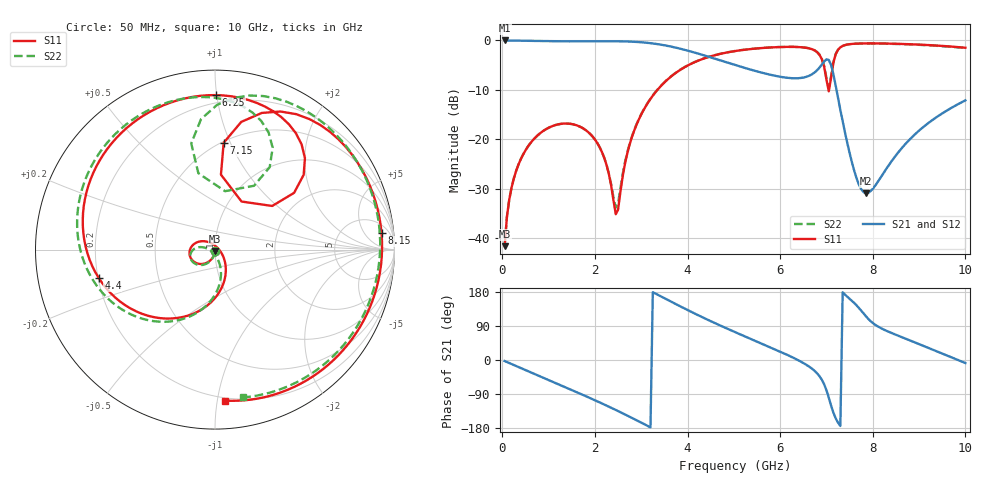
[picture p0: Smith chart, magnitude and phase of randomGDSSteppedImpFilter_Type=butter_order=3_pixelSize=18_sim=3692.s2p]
! freq	dB(S11)	phase(S11)	dB(S12)	phase(S12)
!  dB(S21)	phase(S21)	dB(S22)	phase(S22)
!S-par simulation data
#  GHz  S  DB  R 50
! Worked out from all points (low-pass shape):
!   200 points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, 50 MHz to 10 GHz, reference 50 ohm
!   highest |S21| = -0.01 dB at 50 MHz (marker M1); lowest = -30.9 dB at 7.85 GHz (marker M2)
!   |S21| within 3 dB of the highest: start of sweep to 4.351 GHz
!   lowest |S11| = -41.6 dB at 50 MHz (marker M3), VSWR 1.02, Z = 50 - j0.829 ohm
!   |S11| at or under -10 dB: start of sweep to 3.35 GHz; 7.043898 GHz to 7.055258 GHz (11.36 MHz wide, 0.161 % of centre)
!   |S22| runs from -41.6 to -0.6 dB; largest |S21 - S12| = 0
!   S11 on the Smith chart (normalised r, x): 50 MHz: 1.00, -0.02; 4.4 GHz: 0.20, -0.11; 6.25 GHz: 0.15, +0.99; 7.15 GHz: 0.51, +0.94; 8.15 GHz: 10, +14; 10 GHz: 0.18, -1.05
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0.05  -41.62 -91.9  -0.01 -2.7  -0.01 -2.7  -41.62 -91.7
0.2  -29.77 -101.0  -0.02 -10.7  -0.02 -10.7  -29.77 -100.0
0.55  -21.52 -121.1  -0.07 -29.2  -0.07 -29.2  -21.51 -118.3
1.75  -17.82 170.3  -0.18 -92.5  -0.18 -92.5  -17.82 -176.5
2.2  -23.71 136.6  -0.16 -117.4  -0.16 -117.4  -23.69 169.0
2.45  -35.15 60.5  -0.16 -131.8  -0.16 -131.8  -33.84 -142.0
2.8  -19.53 -56.1  -0.25 -152.8  -0.25 -152.8  -19.40 -73.3
3.4  -9.47 -101.6  -0.82 169.4  -0.82 169.4  -9.43 -101.9
4.4  -3.51 -166.4  -3.15 108.2  -3.15 108.2  -3.49 -158.4
5.05  -2.12 156.1  -5.04 72.3  -5.04 72.3  -2.10 167.9
6.25  -1.30 89.7  -7.64 8.0  -7.64 8.0  -1.30 107.3
6.7  -1.82 59.5  -6.77 -24.1  -6.77 -24.1  -1.81 78.8
6.9  -3.79 40.2  -4.88 -52.1  -4.88 -52.1  -3.72 60.5
7  -7.94 37.3  -3.84 -79.9  -3.84 -79.9  -7.60 58.5
7.05  -10.29 61.1  -3.95 -99.4  -3.95 -99.4  -9.62 80.2
7.15  -4.48 85.4  -6.84 -139.1  -6.84 -139.1  -4.35 102.6
7.35  -1.11 59.1  -16.40 178.7  -16.40 178.7  -1.11 77.4
7.85  -0.60 22.5  -30.91 115.5  -30.91 115.5  -0.62 40.5
8.15  -0.61 5.6  -28.02 85.7  -28.02 85.7  -0.64 22.6
8.35  -0.64 -5.1  -25.18 74.1  -25.18 74.1  -0.68 11.0
9.05  -0.87 -40.4  -17.84 39.4  -17.84 39.4  -0.91 -28.2
10  -1.48 -86.2  -12.12 -8.0  -12.12 -8.0  -1.53 -79.4
